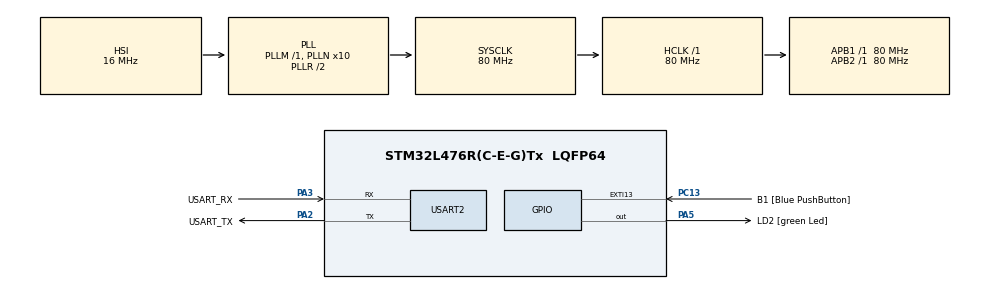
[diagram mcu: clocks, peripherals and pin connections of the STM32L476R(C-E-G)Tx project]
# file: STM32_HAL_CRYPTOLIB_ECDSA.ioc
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Mcu.Family=STM32L4
Mcu.Name=STM32L476R(C-E-G)Tx
Mcu.Package=LQFP64
NVIC.PriorityGroup=NVIC_PRIORITYGROUP_4
PA13\ (JTMS-SWDIO).GPIO_Label=TMS
PA13\ (JTMS-SWDIO).Mode=Serial_Wire
PA13\ (JTMS-SWDIO).Signal=SYS_JTMS-SWDIO
PA14\ (JTCK-SWCLK).GPIO_Label=TCK
PA14\ (JTCK-SWCLK).Mode=Serial_Wire
PA14\ (JTCK-SWCLK).Signal=SYS_JTCK-SWCLK
PA2.GPIO_Label=USART_TX
PA2.GPIO_Mode=GPIO_MODE_AF_PP
PA2.GPIO_PuPd=GPIO_NOPULL
PA2.GPIO_Speed=GPIO_SPEED_FREQ_VERY_HIGH
PA2.Mode=Asynchronous
PA2.Signal=USART2_TX
PA3.GPIO_Label=USART_RX
PA3.GPIO_Mode=GPIO_MODE_AF_PP
PA3.GPIO_PuPd=GPIO_NOPULL
PA3.GPIO_Speed=GPIO_SPEED_FREQ_VERY_HIGH
PA3.Mode=Asynchronous
PA3.Signal=USART2_RX
PA5.GPIO_Label=LD2 [green Led]
PA5.GPIO_ModeDefaultOutputPP=GPIO_MODE_OUTPUT_PP
PA5.GPIO_PuPd=GPIO_NOPULL
PA5.GPIO_Speed=GPIO_SPEED_FREQ_LOW
PA5.Signal=GPIO_Output
PB3\ (JTDO-TRACESWO).GPIO_Label=SWO
PB3\ (JTDO-TRACESWO).Signal=SYS_JTDO-SWO
PC13.GPIO_Label=B1 [Blue PushButton]
PC13.GPIO_ModeDefaultEXTI=GPIO_MODE_IT_FALLING
PC13.GPIO_PuPd=GPIO_NOPULL
PC13.Signal=GPXTI13
PC14-OSC32_IN\ (PC14).Mode=LSE-External-Oscillator
PC14-OSC32_IN\ (PC14).Signal=RCC_OSC32_IN
PC15-OSC32_OUT\ (PC15).Mode=LSE-External-Oscillator
PC15-OSC32_OUT\ (PC15).Signal=RCC_OSC32_OUT
PH0-OSC_IN\ (PH0).Signal=RCC_OSC_IN
PH1-OSC_OUT\ (PH1).Signal=RCC_OSC_OUT
ProjectManager.HeapSize=0x200
ProjectManager.StackSize=0x400
ProjectManager.TargetToolchain=STM32CubeIDE
RCC.ADCFreq_Value=64000000
RCC.AHBFreq_Value=80000000
RCC.APB1Freq_Value=80000000
RCC.APB1TimFreq_Value=80000000
RCC.APB2Freq_Value=80000000
RCC.APB2TimFreq_Value=80000000
RCC.CortexFreq_Value=80000000
RCC.HCLKFreq_Value=80000000
RCC.HSE_VALUE=8000000
RCC.HSI_VALUE=16000000
RCC.MSI_VALUE=4000000
RCC.PLLN=10
RCC.PLLSAI1Q=RCC_PLLQ_DIV4
RCC.PLLSourceVirtual=RCC_PLLSOURCE_HSI
RCC.PREFETCH_ENABLE=1
RCC.SYSCLKFreq_VALUE=80000000
RCC.SYSCLKSource=RCC_SYSCLKSOURCE_PLLCLK
RCC.USBFreq_Value=32000000
RCC.VCOOutputFreq_Value=160000000
USART2.VirtualMode-Asynchronous=VM_ASYNC
VP_RNG_VS_RNG.Mode=RNG_Activate
board=NUCLEO-L476RG

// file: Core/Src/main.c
/* USER CODE BEGIN Header */
/**
 ******************************************************************************
 * @file           : main.c
 * @brief          : Main program body
 ******************************************************************************
 * @attention
 *
 * Copyright (c) 2022 STMicroelectronics.
 * All rights reserved.
 *
 * This software is licensed under terms that can be found in the LICENSE file
 * in the root directory of this software component.
 * If no LICENSE file comes with this software, it is provided AS-IS.
 *
 ******************************************************************************
 */
/* USER CODE END Header */
#include "main.h"
#include "rng.h"
#include "usart.h"
#include "gpio.h"

/* USER CODE BEGIN Includes */
#include <stdio.h>
#include <string.h>
#include <stdbool.h>
#include "cmox_crypto.h"
/* USER CODE END Includes */

void SystemClock_Config(void);

/* USER CODE BEGIN 0 */

int __io_putchar (int ch)
{
  HAL_UART_Transmit(&huart2, (uint8_t*)&ch, 1, HAL_MAX_DELAY);
  return ch;
}

void printHexArray(const uint8_t* arr, const size_t len)
{
  for(size_t i = 0; i < len; i++)
  {
    printf("%02X ", arr[i]);
  }

  printf("\r\n");
}

/** Extract from SigGen.txt

ECDSA signing algorithm calculates a message's hash, then generates a random integer k and calculates the signature (a pair of integers {R, S}).
R is calculated from k, and S is calculated using the message hash + the private key + the random number k.
So, the signature is non-deterministic due to a randomness.

[P-256,SHA-224]
Msg              = ff624d0ba02c7b6370c1622eec3fa2186ea681d1659e0a845448e777b75a8e77a77bb26e5733179d58ef9bc8a4e8b6971aef2539f77ab0963a3415bbd6258339bd1bf55de65db520c63f5b8eab3d55debd05e9494212170f5d65b3286b8b668705b1e2b2b5568610617abb51d2dd0cb450ef59df4b907da90cfa7b268de8c4c2
private key      = 708309a7449e156b0db70e5b52e606c7e094ed676ce8953bf6c14757c826f590
public key       = 29578c7ab6ce0d11493c95d5ea05d299d536801ca9cbd50e9924e43b733b83ab08c8049879c6278b2273348474158515accaa38344106ef96803c5a05adc4800
k(random number) = 58f741771620bdc428e91a32d86d230873e9140336fcfb1e122892ee1d501bdc
R,S(signature)   = 4a19274429e40522234b8785dc25fc524f179dcc95ff09b3c9770fc71f54ca0d58982b79a65b7320f5b92d13bdaecdd1259e760f0f718ba933fd098f6f75d4b7
*/

//message
const uint8_t message[] =
{
    0xff, 0x62, 0x4d, 0x0b, 0xa0, 0x2c, 0x7b, 0x63, 0x70, 0xc1, 0x62, 0x2e, 0xec, 0x3f, 0xa2, 0x18,
    0x6e, 0xa6, 0x81, 0xd1, 0x65, 0x9e, 0x0a, 0x84, 0x54, 0x48, 0xe7, 0x77, 0xb7, 0x5a, 0x8e, 0x77,
    0xa7, 0x7b, 0xb2, 0x6e, 0x57, 0x33, 0x17, 0x9d, 0x58, 0xef, 0x9b, 0xc8, 0xa4, 0xe8, 0xb6, 0x97,
    0x1a, 0xef, 0x25, 0x39, 0xf7, 0x7a, 0xb0, 0x96, 0x3a, 0x34, 0x15, 0xbb, 0xd6, 0x25, 0x83, 0x39,
    0xbd, 0x1b, 0xf5, 0x5d, 0xe6, 0x5d, 0xb5, 0x20, 0xc6, 0x3f, 0x5b, 0x8e, 0xab, 0x3d, 0x55, 0xde,
    0xbd, 0x05, 0xe9, 0x49, 0x42, 0x12, 0x17, 0x0f, 0x5d, 0x65, 0xb3, 0x28, 0x6b, 0x8b, 0x66, 0x87,
    0x05, 0xb1, 0xe2, 0xb2, 0xb5, 0x56, 0x86, 0x10, 0x61, 0x7a, 0xbb, 0x51, 0xd2, 0xdd, 0x0c, 0xb4,
    0x50, 0xef, 0x59, 0xdf, 0x4b, 0x90, 0x7d, 0xa9, 0x0c, 0xfa, 0x7b, 0x26, 0x8d, 0xe8, 0xc4, 0xc2
};

//private key
const uint8_t privKey[] =
{
    0x70, 0x83, 0x09, 0xa7, 0x44, 0x9e, 0x15, 0x6b, 0x0d, 0xb7, 0x0e, 0x5b, 0x52, 0xe6, 0x06, 0xc7,
    0xe0, 0x94, 0xed, 0x67, 0x6c, 0xe8, 0x95, 0x3b, 0xf6, 0xc1, 0x47, 0x57, 0xc8, 0x26, 0xf5, 0x90
};

//public key
const uint8_t pubKey[] =
{
    0x29, 0x57, 0x8c, 0x7a, 0xb6, 0xce, 0x0d, 0x11, 0x49, 0x3c, 0x95, 0xd5, 0xea, 0x05, 0xd2, 0x99,
    0xd5, 0x36, 0x80, 0x1c, 0xa9, 0xcb, 0xd5, 0x0e, 0x99, 0x24, 0xe4, 0x3b, 0x73, 0x3b, 0x83, 0xab,
    0x08, 0xc8, 0x04, 0x98, 0x79, 0xc6, 0x27, 0x8b, 0x22, 0x73, 0x34, 0x84, 0x74, 0x15, 0x85, 0x15,
    0xac, 0xca, 0xa3, 0x83, 0x44, 0x10, 0x6e, 0xf9, 0x68, 0x03, 0xc5, 0xa0, 0x5a, 0xdc, 0x48, 0x00
};

//known random values
const uint8_t knownRandom[] =
{
    0x58, 0xf7, 0x41, 0x77, 0x16, 0x20, 0xbd, 0xc4, 0x28, 0xe9, 0x1a, 0x32, 0xd8, 0x6d, 0x23, 0x08,
    0x73, 0xe9, 0x14, 0x03, 0x36, 0xfc, 0xfb, 0x1e, 0x12, 0x28, 0x92, 0xee, 0x1d, 0x50, 0x1b, 0xdb
};

//signature of known random values
const uint8_t knownSign[] =
{
    0x4a, 0x19, 0x27, 0x44, 0x29, 0xe4, 0x05, 0x22, 0x23, 0x4b, 0x87, 0x85, 0xdc, 0x25, 0xfc, 0x52,
    0x4f, 0x17, 0x9d, 0xcc, 0x95, 0xff, 0x09, 0xb3, 0xc9, 0x77, 0x0f, 0xc7, 0x1f, 0x54, 0xca, 0x0d,
    0x58, 0x98, 0x2b, 0x79, 0xa6, 0x5b, 0x73, 0x20, 0xf5, 0xb9, 0x2d, 0x13, 0xbd, 0xae, 0xcd, 0xd1,
    0x25, 0x9e, 0x76, 0x0f, 0x0f, 0x71, 0x8b, 0xa9, 0x33, 0xfd, 0x09, 0x8f, 0x6f, 0x75, 0xd4, 0xb7
};

cmox_ecc_handle_t hECC;     //ECC context handle
uint8_t eccBuffer[2000];    //ECC buffer

uint32_t arrRandom[8];                          //buffer for TRNG values
uint8_t hash[CMOX_SHA224_SIZE];                 //hash buffer
uint8_t signature[CMOX_ECC_SECP256R1_SIG_LEN];  //signature buffer

//1. calculate hash for data
bool CalculateHash(const uint8_t* data, size_t dataLen, uint8_t* hash)
{
  cmox_hash_retval_t retVal;
  size_t outputLen;

  //calculate hash
  retVal = cmox_hash_compute(
      CMOX_SHA224_ALGO,         //SHA224
      data,                     //source
      dataLen,                  //source length
      hash,                     //hash buffer
      CMOX_SHA224_SIZE,         //hash length
      &outputLen);              //output length

  //check the result
  if( (retVal != CMOX_HASH_SUCCESS) || (outputLen != CMOX_SHA224_SIZE) ) return false;

  return true;
}

//2. generate signature with random, hash and private key
bool SignDataWithPrivKey(const uint8_t* random, size_t randomLen, const uint8_t* privKey, size_t privKeyLen, const uint8_t* hash, size_t hashLen, uint8_t* signature)
{
  cmox_ecc_retval_t retVal;
  size_t outputLen;

  //allocate resources
  cmox_ecc_construct(&hECC, CMOX_ECC256_MATH_FUNCS, eccBuffer, sizeof(eccBuffer));

  //sign data
  retVal = cmox_ecdsa_sign(
      &hECC,
      CMOX_ECC_CURVE_SECP256R1,     //SECP256R1 curve
      random,                       //random
      randomLen,                    //random length
      privKey,                      //private key to sign
      privKeyLen,                   //length of private key
      hash,                         //hash output
      hashLen,                      //length of hash
      signature,                    //signature output
      &outputLen);                  //output length

  //check the result
  if(retVal != CMOX_ECC_SUCCESS) return false;

  //clean up resources
  cmox_ecc_cleanup(&hECC);

  return true;
}

//3. verify signature with hash and public key
bool VerifySignatureWithPubKey(const uint8_t* pubKey, size_t pubKeyLen, const uint8_t* hash, size_t hashLen, const uint8_t* signature, size_t signatureLen)
{
  cmox_ecc_retval_t retVal;
  uint32_t fault_check = CMOX_ECC_AUTH_FAIL;

  //allocate resources
  cmox_ecc_construct(&hECC, CMOX_ECC256_MATH_FUNCS, eccBuffer, sizeof(eccBuffer));

  //verify signature
  retVal = cmox_ecdsa_verify(
      &hECC,
      CMOX_ECC_CURVE_SECP256R1,   //SECP256R1
      pubKey,                     //public key for verification
      pubKeyLen,                  //public key length
      hash,                       //hash to compare
      hashLen,                    //hash length
      signature,                  //signature to verify
      signatureLen,               //signature length
      &fault_check);              //verification result

  //check the result
  if((retVal != CMOX_ECC_AUTH_SUCCESS) || (fault_check != CMOX_ECC_AUTH_SUCCESS)) return false;

  //clean up resources
  cmox_ecc_cleanup(&hECC);

  return true;
}

/* USER CODE END 0 */

int main(void)
{

  /* MCU Configuration--------------------------------------------------------*/

  /* Reset of all peripherals, Initializes the Flash interface and the Systick. */
  HAL_Init();

  /* Configure the system clock */
  SystemClock_Config();

  /* Initialize all configured peripherals */
  MX_GPIO_Init();
  MX_USART2_UART_Init();
  MX_RNG_Init();
  /* USER CODE BEGIN 2 */

  //initialize cmox
  if (cmox_initialize(NULL) != CMOX_INIT_SUCCESS)
  {
    Error_Handler();
  }

  printf("Print the message.\r\n");
  printHexArray((uint8_t*)message, sizeof(message));
  printf("\r\n");

  //1. Calculate hash
  if(!CalculateHash(message, sizeof(message), hash))
  {
    Error_Handler();
  }
  else
  {
    printf("Print the hash of message.\r\n");
    printHexArray(hash, sizeof(hash));
    printf("\r\n");
  }

  //2. Use known random number & calculate signature by random number + hash + private key
  if(!SignDataWithPrivKey(knownRandom, sizeof(knownRandom), privKey, sizeof(privKey), hash, sizeof(hash), signature))
  {
    Error_Handler();
  }
  else
  {
    if(memcmp(knownSign, signature, sizeof(knownSign)) != 0)
    {
      Error_Handler();
    }
    else
    {
      printf("Print the hash.\r\n");
      printHexArray(hash, sizeof(hash));
      printf("\r\n");

      printf("Print the signature.\r\n");
      printHexArray(signature, sizeof(signature));
      printf("\r\n");

      printf("Print the known signature.\r\n");
      printHexArray((uint8_t*)knownSign, sizeof(knownSign));
      printf("\r\n");
    }
  }

  //3. Verify signature with public key and hash
  if(!VerifySignatureWithPubKey(pubKey, sizeof(pubKey), hash, sizeof(hash), signature, sizeof(signature)))
  {
    Error_Handler();
  }
  else
  {
    printf("signature is verified.\r\n\r\n");
  }

  //2. Generate random number & calculate signature by random number + hash + private key
  for (uint32_t i = 0; i < sizeof(arrRandom) / sizeof(uint32_t); i++)
  {
    HAL_RNG_GenerateRandomNumber(&hrng, &arrRandom[i]);
  }

  if(!SignDataWithPrivKey((const uint8_t*)arrRandom, sizeof(arrRandom), privKey, sizeof(privKey), hash, sizeof(hash), signature))
  {
    Error_Handler();
  }
  else
  {
    printf("Print the hash.\r\n");
    printHexArray(hash, sizeof(hash));
    printf("\r\n");

    printf("Print the signature.\r\n");
    printHexArray(signature, sizeof(signature));
    printf("\r\n");
  }

  //3. Verify signature with public and hash
  if(!VerifySignatureWithPubKey(pubKey, sizeof(pubKey), hash, sizeof(hash), signature, sizeof(signature)))
  {
    Error_Handler();
  }
  else
  {
    printf("signature is verified.\r\n\r\n");
  }

  //finalize cmox
  if (cmox_finalize(NULL) != CMOX_INIT_SUCCESS)
  {
    Error_Handler();
  }

  /* USER CODE END 2 */

  /* Infinite loop */
  while (1)
  {

  }
}

void SystemClock_Config(void)
{
  RCC_OscInitTypeDef RCC_OscInitStruct = {0};
  RCC_ClkInitTypeDef RCC_ClkInitStruct = {0};

  /** Configure the main internal regulator output voltage
   */
  if (HAL_PWREx_ControlVoltageScaling(PWR_REGULATOR_VOLTAGE_SCALE1) != HAL_OK)
  {
    Error_Handler();
  }

  /** Initializes the RCC Oscillators according to the specified parameters
   * in the RCC_OscInitTypeDef structure.
   */
  RCC_OscInitStruct.OscillatorType = RCC_OSCILLATORTYPE_HSI;
  RCC_OscInitStruct.HSIState = RCC_HSI_ON;
  RCC_OscInitStruct.HSICalibrationValue = RCC_HSICALIBRATION_DEFAULT;
  RCC_OscInitStruct.PLL.PLLState = RCC_PLL_ON;
  RCC_OscInitStruct.PLL.PLLSource = RCC_PLLSOURCE_HSI;
  RCC_OscInitStruct.PLL.PLLM = 1;
  RCC_OscInitStruct.PLL.PLLN = 10;
  RCC_OscInitStruct.PLL.PLLP = RCC_PLLP_DIV7;
  RCC_OscInitStruct.PLL.PLLQ = RCC_PLLQ_DIV2;
  RCC_OscInitStruct.PLL.PLLR = RCC_PLLR_DIV2;
  if (HAL_RCC_OscConfig(&RCC_OscInitStruct) != HAL_OK)
  {
    Error_Handler();
  }

  /** Initializes the CPU, AHB and APB buses clocks
   */
  RCC_ClkInitStruct.ClockType = RCC_CLOCKTYPE_HCLK|RCC_CLOCKTYPE_SYSCLK
      |RCC_CLOCKTYPE_PCLK1|RCC_CLOCKTYPE_PCLK2;
  RCC_ClkInitStruct.SYSCLKSource = RCC_SYSCLKSOURCE_PLLCLK;
  RCC_ClkInitStruct.AHBCLKDivider = RCC_SYSCLK_DIV1;
  RCC_ClkInitStruct.APB1CLKDivider = RCC_HCLK_DIV1;
  RCC_ClkInitStruct.APB2CLKDivider = RCC_HCLK_DIV1;

  if (HAL_RCC_ClockConfig(&RCC_ClkInitStruct, FLASH_LATENCY_4) != HAL_OK)
  {
    Error_Handler();
  }
}

void Error_Handler(void)
{
  /* USER CODE BEGIN Error_Handler_Debug */
  /* User can add his own implementation to report the HAL error return state */
  __disable_irq();
  while (1)
  {
    HAL_GPIO_WritePin(LD2_GPIO_Port, LD2_Pin, GPIO_PIN_SET);
  }
  /* USER CODE END Error_Handler_Debug */
}
